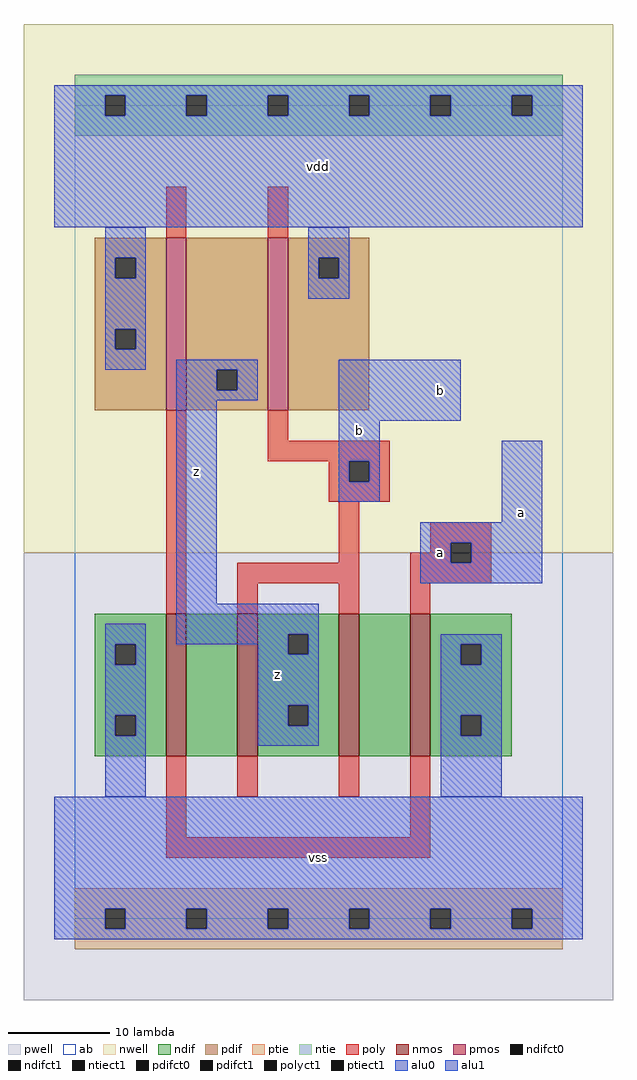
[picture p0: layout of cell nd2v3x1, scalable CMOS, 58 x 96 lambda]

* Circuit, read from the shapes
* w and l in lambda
.subckt nd2v3x1 a b vdd vss z
M1 n1 a vss vss nfet w=14 l=2
M2 z b n1 vss nfet w=14 l=2
M3 n2 b z vss nfet w=14 l=2
M4 vss a n2 vss nfet w=14 l=2
M5 z a vdd vdd pfet w=17 l=2
M6 vdd b z vdd pfet w=17 l=2
.ends

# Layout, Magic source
magic
tech scmos
<< ab >>
rect 0 0 48 80
<< nwell >>
rect -5 36 53 88
<< pwell >>
rect -5 -8 53 36
<< poly >>
rect 9 67 11 72
rect 19 67 21 72
rect 9 30 11 50
rect 19 47 21 50
rect 19 45 31 47
rect 25 43 27 45
rect 29 43 31 45
rect 25 41 31 43
rect 26 35 28 41
rect 35 37 41 39
rect 35 36 37 37
rect 16 33 28 35
rect 16 30 18 33
rect 26 30 28 33
rect 33 35 37 36
rect 39 35 41 37
rect 33 33 41 35
rect 33 30 35 33
rect 9 8 11 16
rect 16 12 18 16
rect 26 12 28 16
rect 33 8 35 16
rect 9 6 35 8
<< ndif >>
rect 2 27 9 30
rect 2 25 4 27
rect 6 25 9 27
rect 2 20 9 25
rect 2 18 4 20
rect 6 18 9 20
rect 2 16 9 18
rect 11 16 16 30
rect 18 28 26 30
rect 18 26 21 28
rect 23 26 26 28
rect 18 21 26 26
rect 18 19 21 21
rect 23 19 26 21
rect 18 16 26 19
rect 28 16 33 30
rect 35 27 43 30
rect 35 25 38 27
rect 40 25 43 27
rect 35 20 43 25
rect 35 18 38 20
rect 40 18 43 20
rect 35 16 43 18
<< pdif >>
rect 2 65 9 67
rect 2 63 4 65
rect 6 63 9 65
rect 2 58 9 63
rect 2 56 4 58
rect 6 56 9 58
rect 2 50 9 56
rect 11 54 19 67
rect 11 52 14 54
rect 16 52 19 54
rect 11 50 19 52
rect 21 65 29 67
rect 21 63 24 65
rect 26 63 29 65
rect 21 50 29 63
<< alu1 >>
rect -2 81 50 82
rect -2 79 3 81
rect 5 79 11 81
rect 13 79 19 81
rect 21 79 27 81
rect 29 79 35 81
rect 37 79 43 81
rect 45 79 50 81
rect -2 68 50 79
rect 10 54 18 55
rect 10 52 14 54
rect 16 52 18 54
rect 10 51 18 52
rect 10 31 14 51
rect 26 49 38 55
rect 26 45 30 49
rect 26 43 27 45
rect 29 43 30 45
rect 26 41 30 43
rect 42 39 46 47
rect 34 37 46 39
rect 34 35 37 37
rect 39 35 46 37
rect 34 33 46 35
rect 10 28 24 31
rect 10 27 21 28
rect 18 26 21 27
rect 23 26 24 28
rect 18 21 24 26
rect 18 19 21 21
rect 23 19 24 21
rect 18 17 24 19
rect -2 1 50 12
rect -2 -1 3 1
rect 5 -1 11 1
rect 13 -1 19 1
rect 21 -1 27 1
rect 29 -1 35 1
rect 37 -1 43 1
rect 45 -1 50 1
rect -2 -2 50 -1
<< ptie >>
rect 0 1 48 3
rect 0 -1 3 1
rect 5 -1 11 1
rect 13 -1 19 1
rect 21 -1 27 1
rect 29 -1 35 1
rect 37 -1 43 1
rect 45 -1 48 1
rect 0 -3 48 -1
<< ntie >>
rect 0 81 48 83
rect 0 79 3 81
rect 5 79 11 81
rect 13 79 19 81
rect 21 79 27 81
rect 29 79 35 81
rect 37 79 43 81
rect 45 79 48 81
rect 0 77 48 79
<< nmos >>
rect 9 16 11 30
rect 16 16 18 30
rect 26 16 28 30
rect 33 16 35 30
<< pmos >>
rect 9 50 11 67
rect 19 50 21 67
<< polyct1 >>
rect 27 43 29 45
rect 37 35 39 37
<< ndifct0 >>
rect 4 25 6 27
rect 4 18 6 20
rect 38 25 40 27
rect 38 18 40 20
<< ndifct1 >>
rect 21 26 23 28
rect 21 19 23 21
<< ntiect1 >>
rect 3 79 5 81
rect 11 79 13 81
rect 19 79 21 81
rect 27 79 29 81
rect 35 79 37 81
rect 43 79 45 81
<< ptiect1 >>
rect 3 -1 5 1
rect 11 -1 13 1
rect 19 -1 21 1
rect 27 -1 29 1
rect 35 -1 37 1
rect 43 -1 45 1
<< pdifct0 >>
rect 4 63 6 65
rect 4 56 6 58
rect 24 63 26 65
<< pdifct1 >>
rect 14 52 16 54
<< alu0 >>
rect 3 65 7 68
rect 3 63 4 65
rect 6 63 7 65
rect 3 58 7 63
rect 23 65 27 68
rect 23 63 24 65
rect 26 63 27 65
rect 23 61 27 63
rect 3 56 4 58
rect 6 56 7 58
rect 3 54 7 56
rect 3 27 7 29
rect 3 25 4 27
rect 6 25 7 27
rect 3 20 7 25
rect 3 18 4 20
rect 6 18 7 20
rect 3 12 7 18
rect 36 27 42 28
rect 36 25 38 27
rect 40 25 42 27
rect 36 20 42 25
rect 36 18 38 20
rect 40 18 42 20
rect 36 12 42 18
<< labels >>
rlabel alu1 20 24 20 24 6 z
rlabel alu1 12 44 12 44 6 z
rlabel alu1 24 6 24 6 6 vss
rlabel alu1 28 48 28 48 6 b
rlabel alu1 24 74 24 74 6 vdd
rlabel alu1 36 36 36 36 6 a
rlabel alu1 44 40 44 40 6 a
rlabel alu1 36 52 36 52 6 b
<< end >>
